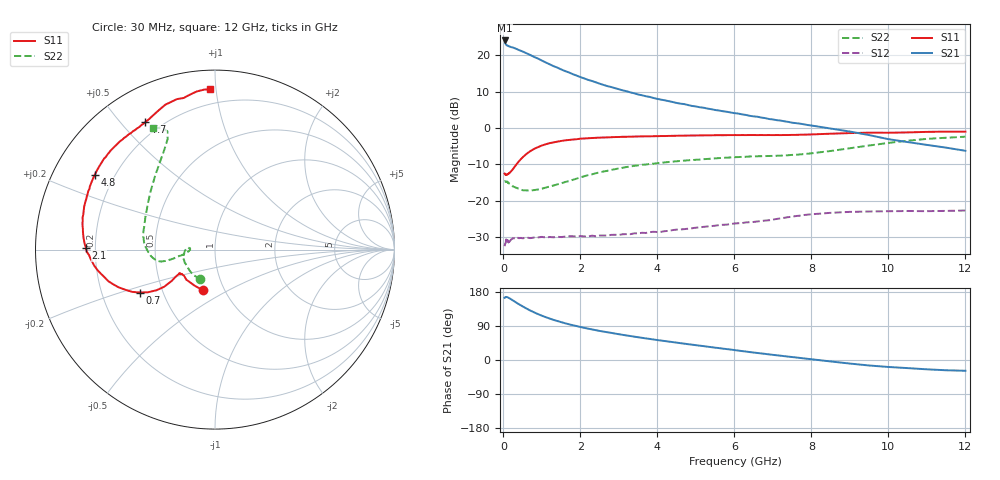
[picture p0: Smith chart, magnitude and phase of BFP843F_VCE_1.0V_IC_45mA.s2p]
! Infineon Technologies  Discrete & RF Semiconductors
! BFP843F
! VCE =  1.0 V,  IC =  45 mA
! Common Emitter S-Parameters:  Aug 2013
# GHz  S  MA  R  50
!  f  S11  S21  S12  S22
! GHz  MAG  ANG  MAG  ANG  MAG  ANG  MAG  ANG
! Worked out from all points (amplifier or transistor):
!   103 points, 30 MHz to 12 GHz, reference 50 ohm
!   highest |S21| = 24.1 dB at 30 MHz (marker M1)
!   |S21| within 3 dB of that: start of sweep to 488 MHz
!   unconditionally stable (mu >= 1): start of sweep to end of sweep
!   at 400 MHz: K = 1.40, MAG = 22.1 dB, |S12| = -30.3 dB
!   at 3.7 GHz: K = 1.91, MAG = 13.3 dB, |S12| = -28.9 dB
!   at 12 GHz: K = 1.71, MAG = 3.3 dB, |S12| = -22.7 dB
!   S11 on the Smith chart (normalised r, x): 30 MHz: 0.79, -0.38; 700 MHz: 0.37, -0.23; 2.1 GHz: 0.16, +0.01; 4.8 GHz: 0.13, +0.28; 7.7 GHz: 0.14, +0.58; 12 GHz: 0.11, +0.96
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0.03  0.2365 -106.3  16.08 164.0  0.0237 33.5  0.1848 -116.1
0.04  0.2309 -119.7  15.15 164.3  0.0251 25.7  0.1858 -131.2
0.05  0.2292 -125.6  14.62 166.1  0.0259 22.4  0.1837 -139.9
0.07  0.2267 -138.0  14.06 166.4  0.0294 14.4  0.1819 -154.5
0.1  0.228 -143.6  13.65 165.7  0.0289 14.2  0.1828 -164.5
0.25  0.2741 -145.1  12.85 156.9  0.0305 11.7  0.1571 179.8
0.4  0.3484 -143.8  11.86 147.3  0.0305 8.1  0.1461 176.3
0.5  0.3967 -145.2  11.31 141.4  0.0304 6.6  0.1396 176.6
0.7  0.4826 -150.3  10.13 130.4  0.0306 7.3  0.1386 179.5
0.9  0.5477 -155.9  9.04 121.0  0.0313 8.3  0.1428 -178.1
1  0.5763 -158.6  8.487 116.8  0.0318 8.4  0.1465 -176.5
1.3  0.6361 -166.2  7.129 105.9  0.0314 9.9  0.1621 -173.3
1.7  0.6865 -174.1  5.839 94.3  0.0324 11.3  0.1864 -170.6
2.1  0.7194 179.2  4.825 84.8  0.0323 12.8  0.2174 -168.9
2.9  0.7529 168.8  3.543 69.7  0.034 19.3  0.2723 -167.3
4.1  0.7775 155.3  2.461 51.3  0.0374 26.4  0.3336 -170.0
4.8  0.7891 148.2  2.074 41.7  0.0413 29.0  0.3604 -174.7
6.1  0.8014 135.6  1.584 24.9  0.049 30.3  0.3992 172.9
7.7  0.81 118.6  1.152 5.5  0.0623 29.1  0.4342 152.0
8.5  0.8371 112.0  0.986 -3.8  0.0682 24.0  0.4841 137.8
10.5  0.8721 99.7  0.642 -21.4  0.0722 15.3  0.6699 113.2
12  0.8926 91.8  0.487 -28.4  0.0734 14.7  0.7615 117.1
